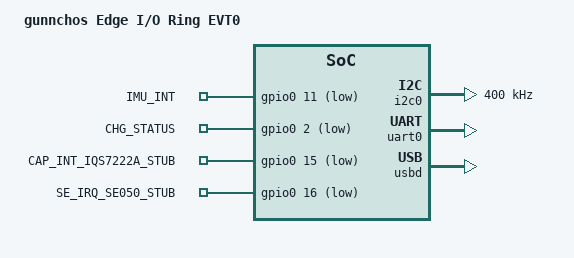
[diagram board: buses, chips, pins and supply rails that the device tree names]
/dts-v1/;

/*
 * Device tree source (Zephyr-shaped) for Edge I/O Ring EVT0.
 * Continuation V: parity stubs for IQS7222A / SE050 GPIOs vs hardware BOM.
 * PHYSICAL_EXECUTION_FREEZE — digital only; not a physical boot claim.
 */

/ {
	model = "gunnchos Edge I/O Ring EVT0";
	compatible = "gunnchos,edge-io-ring";

	chosen {
		zephyr,sram = &sram0;
		zephyr,flash = &flash0;
		zephyr,code-partition = &slot0_partition;
		zephyr,console = &uart0;
	};

	aliases {
		imu-int = &imu_int;
		chg-status = &chg_status;
		imu-i2c = &i2c0;
		cap-int = &cap_int;
		se-irq = &se_irq;
	};

	gpio_inputs {
		compatible = "gpio-keys";

		imu_int: imu_int {
			gpios = <&gpio0 11 GPIO_ACTIVE_LOW>;
			label = "IMU_INT";
		};

		chg_status: chg_status {
			gpios = <&gpio0 2 GPIO_ACTIVE_LOW>;
			label = "CHG_STATUS";
		};

		cap_int: cap_int {
			gpios = <&gpio0 15 GPIO_ACTIVE_LOW>;
			label = "CAP_INT_IQS7222A_STUB";
		};

		se_irq: se_irq {
			gpios = <&gpio0 16 GPIO_ACTIVE_LOW>;
			label = "SE_IRQ_SE050_STUB";
		};
	};
};

&gpio0 { status = "okay"; };

&i2c0 {
	status = "okay";
	clock-frequency = <400000>;
	/* SDA P0.26 SCL P0.27 — see dts/pinout.json */
};

&uart0 { status = "okay"; };

&usbd { status = "okay"; };
